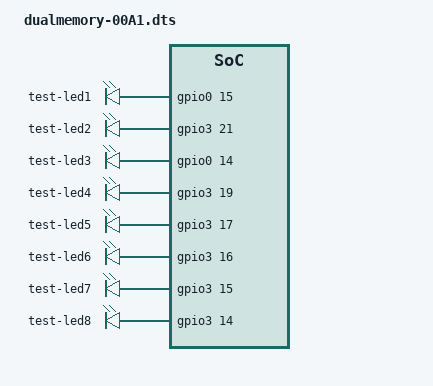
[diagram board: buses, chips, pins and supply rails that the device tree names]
/*
 * Copyright (C) 2020 Deokhwa Kim
 *
 */

/dts-v1/;
/plugin/;

#include <dt-bindings/gpio/gpio.h>
#include <dt-bindings/pinctrl/am33xx.h>
#include <dt-bindings/board/am335x-bbw-bbb-base.h>

/ {
	compatible = "ti,beaglebone", "ti,beaglebone-black";
	part-number = "dualmemory";
	version = "00A1";

	/* state the resources this cape uses */
	exclusive-use =
		/* the pin header uses */
    "P9.24",	/* mcasp0: mcasp0_ahclkx */
    "P9.25",	/* mcasp0: mcasp0_axr2 */
    "P9.26",	/* mcasp0: mcasp0_fsx */
    "P9.27",	/* mcasp0: mcasp0_aclkx */
    "P9.28",	/* lcd: lcd_data0 */
    "P9.29",	/* lcd: lcd_data1 */
    "P9.30",	/* lcd: lcd_data2 */
    "P9.31",	/* lcd: lcd_data3 */

    "P9.11",    /* GPMC WAIT0 */
    "P9.13",    /* GPMC WPN */
    "P8.3",     /* GPMC AD6 */
    "P8.4",     /* GPMC AD7 */
    "P8.5",     /* GPMC AD2 */
    "P8.6",     /* GPMC AD3 */
    "P8.8",     /* GPMC OEN REN */
    "P8.10",    /* GPMC WEN*/
    "P8.11",    /* GPMC AD13*/
    "P8.12",    /* GPMC AD12*/
    "P8.13",    /* GPMC AD9*/
    "P8.14",    /* GPMC AD10*/
    "P8.15",    /* GPMC AD15*/
    "P8.16",    /* GPMC AD14*/
    "P8.17",    /* GPMC AD11*/
    "P8.19",    /* GPMC AD8*/
    "P8.22",    /* GPMC AD5*/
    "P8.23",    /* GPMC AD4*/
    "P8.24",    /* GPMC AD1*/
    "P8.25",    /* GPMC AD0*/
    "P8.26",    /* GPMC CSN0*/
    "P8.27",    /* GPMC A8*/
    "P8.28",    /* GPMC A10*/
    "P8.29",    /* GPMC A9*/
    "P8.30",    /* GPMC A11*/
    "P8.37",    /* GPMC A12*/
    "P8.39",    /* GPMC A6*/
    "P8.40",    /* GPMC A7*/
    "P8.41",    /* GPMC A4*/
    "P8.42",    /* GPMC A5*/
    "P8.43",    /* GPMC A2*/
    "P8.44",    /* GPMC A3*/
    "P8.46",    /* GPMC A1*/

    "gpio0_31",

    "gpmc",

		"gpio0_15",
		"gpio3_21",
		"gpio0_14",
		"gpio3_19",
		"gpio3_17",
		"gpio3_15",
		"gpio3_16",
		"gpio3_14";

	/*
	 * Helper to show loaded overlays under: /proc/device-tree/chosen/overlays/
	 */
	fragment@0 {
		target-path="/";
		__overlay__ {

			chosen {
				overlays {
					dualmemory-00A1 = __TIMESTAMP__;
				};
			};
		};
	};

	/*
	 * Free up the pins used by the cape from the pinmux helpers.
	 */
	fragment@1 {
		target = <&ocp>;
		__overlay__ {
      P9_24_pinmux { status = "disabled"; };
      P9_25_pinmux { status = "disabled"; };
      P9_26_pinmux { status = "disabled"; };
      P9_27_pinmux { status = "disabled"; };
      P9_28_pinmux { status = "disabled"; };
      P9_29_pinmux { status = "disabled"; };
      P9_30_pinmux { status = "disabled"; };
      P9_31_pinmux { status = "disabled"; };
		};
	};

	fragment@2 {
		target = <&am33xx_pinmux>;
		__overlay__ {

			debug_led_pins: pinmux_debug_led_pins {
				pinctrl-single,pins = <
          BONE_P9_24 (PIN_OUTPUT_PULLUP | MUX_MODE7)
          BONE_P9_25 (PIN_OUTPUT_PULLUP | MUX_MODE7)
          BONE_P9_26 (PIN_OUTPUT_PULLUP | MUX_MODE7)
          BONE_P9_27 (PIN_OUTPUT_PULLUP | MUX_MODE7)
          BONE_P9_28 (PIN_OUTPUT_PULLUP | MUX_MODE7)
          BONE_P9_29 (PIN_OUTPUT_PULLUP | MUX_MODE7)
          BONE_P9_30 (PIN_OUTPUT_PULLUP | MUX_MODE7)
          BONE_P9_31 (PIN_OUTPUT_PULLUP | MUX_MODE7)
				>;
			};
		};
	};


	fragment@3 {
		target-path="/";
		__overlay__ {
			test-gpio-leds-cape {
				compatible = "gpio-leds";
				pinctrl-names = "default";
				pinctrl-0 = <&debug_led_pins>;

        test-led1 {
          label = "test-led1";
          gpios = <&gpio0 15 0>;
          linux,default-trigger = "heartbeat";
          default-state = "on";
        };
        test-led2 {
          label = "test-led2";
          gpios = <&gpio3 21 0>;
          linux,default-trigger = "heartbeat";
          default-state = "on";
        };
        test-led3 {
          label = "test-led3";
          gpios = <&gpio0 14 0>;
          linux,default-trigger = "heartbeat";
          default-state = "on";
        };
        test-led4 {
          label = "test-led4";
          gpios = <&gpio3 19 0>;
          linux,default-trigger = "heartbeat";
          default-state = "on";
        };
        test-led5 {
          label = "test-led5";
          gpios = <&gpio3 17 0>;
          linux,default-trigger = "heartbeat";
          default-state = "on";
        };
        test-led6 {
          label = "test-led6";
          gpios = <&gpio3 16 0>;
          linux,default-trigger = "heartbeat";
          default-state = "on";
        };
				test-led7 {
					label = "test-led7";
					gpios = <&gpio3 15 0>;
					linux,default-trigger = "heartbeat";
					default-state = "on";
				};
				test-led8 {
					label = "test-led8";
					gpios = <&gpio3 14 0>;
					linux,default-trigger = "heartbeat";
					default-state = "on";
				};

			};
		};
	};
};
